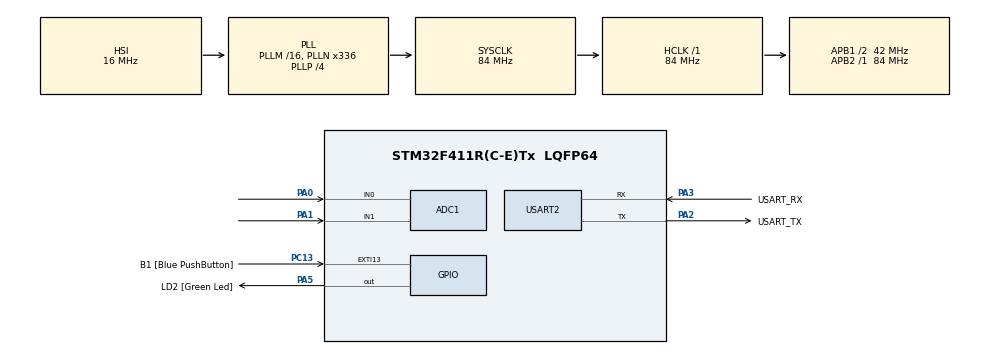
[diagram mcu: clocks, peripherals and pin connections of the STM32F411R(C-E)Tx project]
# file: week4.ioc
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ADC1.Channel-0\#ChannelRegularConversion=ADC_CHANNEL_0
ADC1.Channel-1\#ChannelRegularConversion=ADC_CHANNEL_1
ADC1.Channel-2\#ChannelRegularConversion=ADC_CHANNEL_TEMPSENSOR
ADC1.Channel-3\#ChannelRegularConversion=ADC_CHANNEL_VREFINT
ADC1.ContinuousConvMode=ENABLE
ADC1.DMAContinuousRequests=ENABLE
ADC1.InjNumberOfConversion=0
ADC1.NbrOfConversion=4
ADC1.NbrOfConversionFlag=1
ADC1.Rank-0\#ChannelRegularConversion=1
ADC1.Rank-1\#ChannelRegularConversion=2
ADC1.Rank-2\#ChannelRegularConversion=3
ADC1.Rank-3\#ChannelRegularConversion=4
ADC1.SamplingTime-0\#ChannelRegularConversion=ADC_SAMPLETIME_480CYCLES
ADC1.SamplingTime-1\#ChannelRegularConversion=ADC_SAMPLETIME_480CYCLES
ADC1.SamplingTime-2\#ChannelRegularConversion=ADC_SAMPLETIME_480CYCLES
ADC1.SamplingTime-3\#ChannelRegularConversion=ADC_SAMPLETIME_480CYCLES
ADC1.ScanConvMode=ENABLE
ADC1.master=1
Dma.ADC1.0.Direction=DMA_PERIPH_TO_MEMORY
Dma.ADC1.0.FIFOMode=DMA_FIFOMODE_DISABLE
Dma.ADC1.0.Instance=DMA2_Stream0
Dma.ADC1.0.MemDataAlignment=DMA_MDATAALIGN_WORD
Dma.ADC1.0.MemInc=DMA_MINC_ENABLE
Dma.ADC1.0.Mode=DMA_CIRCULAR
Dma.ADC1.0.PeriphDataAlignment=DMA_PDATAALIGN_WORD
Dma.ADC1.0.PeriphInc=DMA_PINC_DISABLE
Dma.ADC1.0.Priority=DMA_PRIORITY_LOW
Dma.Request0=ADC1
Mcu.Family=STM32F4
Mcu.Name=STM32F411R(C-E)Tx
Mcu.Package=LQFP64
NVIC.DMA2_Stream0_IRQn=true\:0\:0\:false\:false\:true\:false\:true
NVIC.EXTI15_10_IRQn=true\:0\:0\:false\:false\:true\:true\:true
NVIC.PriorityGroup=NVIC_PRIORITYGROUP_0
PA0-WKUP.Signal=ADCx_IN0
PA1.Signal=ADCx_IN1
PA13.GPIO_Label=TMS
PA13.Mode=Serial_Wire
PA13.Signal=SYS_JTMS-SWDIO
PA14.GPIO_Label=TCK
PA14.Mode=Serial_Wire
PA14.Signal=SYS_JTCK-SWCLK
PA2.GPIO_Label=USART_TX
PA2.Mode=Asynchronous
PA2.Signal=USART2_TX
PA3.GPIO_Label=USART_RX
PA3.Mode=Asynchronous
PA3.Signal=USART2_RX
PA5.GPIO_Label=LD2 [Green Led]
PA5.Signal=GPIO_Output
PB3.GPIO_Label=SWO
PB3.Signal=SYS_JTDO-SWO
PC13-ANTI_TAMP.GPIO_Label=B1 [Blue PushButton]
PC13-ANTI_TAMP.GPIO_ModeDefaultEXTI=GPIO_MODE_IT_RISING_FALLING
PC13-ANTI_TAMP.GPIO_PuPd=GPIO_PULLUP
PC13-ANTI_TAMP.Signal=GPXTI13
PC14-OSC32_IN.Mode=LSE-External-Oscillator
PC14-OSC32_IN.Signal=RCC_OSC32_IN
PC15-OSC32_OUT.Mode=LSE-External-Oscillator
PC15-OSC32_OUT.Signal=RCC_OSC32_OUT
PH0\ -\ OSC_IN.Mode=HSE-External-Clock-Source
PH0\ -\ OSC_IN.Signal=RCC_OSC_IN
PH1\ -\ OSC_OUT.Mode=HSE-External-Clock-Source
PH1\ -\ OSC_OUT.Signal=RCC_OSC_OUT
ProjectManager.HeapSize=0x200
ProjectManager.StackSize=0x400
ProjectManager.TargetToolchain=STM32CubeIDE
RCC.48MHZClocksFreq_Value=84000000
RCC.AHBFreq_Value=84000000
RCC.APB1CLKDivider=RCC_HCLK_DIV2
RCC.APB1Freq_Value=42000000
RCC.APB1TimFreq_Value=84000000
RCC.APB2Freq_Value=84000000
RCC.APB2TimFreq_Value=84000000
RCC.CortexFreq_Value=84000000
RCC.FLatency-AdvancedSettings=FLASH_LATENCY_2
RCC.HCLKFreq_Value=84000000
RCC.HSE_VALUE=8000000
RCC.HSI_VALUE=16000000
RCC.PLLN=336
RCC.PLLP=RCC_PLLP_DIV4
RCC.SYSCLKFreq_VALUE=84000000
RCC.SYSCLKSource=RCC_SYSCLKSOURCE_PLLCLK
RCC.VCOOutputFreq_Value=336000000
SH.ADCx_IN0.0=ADC1_IN0,IN0
SH.ADCx_IN1.0=ADC1_IN1,IN1
USART2.VirtualMode=VM_ASYNC
VP_ADC1_TempSens_Input.Mode=IN-TempSens
VP_ADC1_Vref_Input.Mode=IN-Vrefint
board=NUCLEO-F411RE

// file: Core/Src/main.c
/* USER CODE BEGIN Header */
/**
  ******************************************************************************
  * @file           : main.c
  * @brief          : Main program body
  ******************************************************************************
  * @attention
  *
  * <h2><center>&copy; Copyright (c) 2021 STMicroelectronics.
  * All rights reserved.</center></h2>
  *
  * This software component is licensed by ST under BSD 3-Clause license,
  * the "License"; You may not use this file except in compliance with the
  * License. You may obtain a copy of the License at:
  *                        opensource.org/licenses/BSD-3-Clause
  *
  ******************************************************************************
  */
/* USER CODE END Header */
#include "main.h"

ADC_HandleTypeDef hadc1;
DMA_HandleTypeDef hdma_adc1;

UART_HandleTypeDef huart2;

/* USER CODE BEGIN PV */
uint32_t ADCData[4] = {0};
//uint8_t state = 0;
uint32_t ButtonTimeStamp1 = 0;
uint32_t ButtonTimeStamp2 = 0;
uint32_t Timeresponse = 0;
uint8_t mode = 0;
uint32_t randomtime = 0;

/* USER CODE END PV */

void SystemClock_Config(void);
static void MX_GPIO_Init(void);
static void MX_DMA_Init(void);
static void MX_USART2_UART_Init(void);
static void MX_ADC1_Init(void);

int main(void)
{

  /* MCU Configuration--------------------------------------------------------*/

  /* Reset of all peripherals, Initializes the Flash interface and the Systick. */
  HAL_Init();

  /* Configure the system clock */
  SystemClock_Config();

  /* Initialize all configured peripherals */
  MX_GPIO_Init();
  MX_DMA_Init();
  MX_USART2_UART_Init();
  MX_ADC1_Init();
  /* USER CODE BEGIN 2 */
  HAL_ADC_Start_DMA(&hadc1, ADCData, 4);
  /* USER CODE END 2 */

  /* Infinite loop */
  /* USER CODE BEGIN WHILE */
  while (1)
  {
	  if(mode == 1)
	  {
		  if(HAL_GetTick() - ButtonTimeStamp1 >= randomtime)
		  {
			  HAL_GPIO_WritePin(GPIOA, GPIO_PIN_5, GPIO_PIN_SET);
	 		  mode = 2;
	  		  ButtonTimeStamp2 = HAL_GetTick();
	  	  }
	  }

    /* USER CODE END WHILE */

  }
}

void SystemClock_Config(void)
{
  RCC_OscInitTypeDef RCC_OscInitStruct = {0};
  RCC_ClkInitTypeDef RCC_ClkInitStruct = {0};

  /** Configure the main internal regulator output voltage
  */
  __HAL_RCC_PWR_CLK_ENABLE();
  __HAL_PWR_VOLTAGESCALING_CONFIG(PWR_REGULATOR_VOLTAGE_SCALE1);
  /** Initializes the RCC Oscillators according to the specified parameters
  * in the RCC_OscInitTypeDef structure.
  */
  RCC_OscInitStruct.OscillatorType = RCC_OSCILLATORTYPE_HSI;
  RCC_OscInitStruct.HSIState = RCC_HSI_ON;
  RCC_OscInitStruct.HSICalibrationValue = RCC_HSICALIBRATION_DEFAULT;
  RCC_OscInitStruct.PLL.PLLState = RCC_PLL_ON;
  RCC_OscInitStruct.PLL.PLLSource = RCC_PLLSOURCE_HSI;
  RCC_OscInitStruct.PLL.PLLM = 16;
  RCC_OscInitStruct.PLL.PLLN = 336;
  RCC_OscInitStruct.PLL.PLLP = RCC_PLLP_DIV4;
  RCC_OscInitStruct.PLL.PLLQ = 4;
  if (HAL_RCC_OscConfig(&RCC_OscInitStruct) != HAL_OK)
  {
    Error_Handler();
  }
  /** Initializes the CPU, AHB and APB buses clocks
  */
  RCC_ClkInitStruct.ClockType = RCC_CLOCKTYPE_HCLK|RCC_CLOCKTYPE_SYSCLK
                              |RCC_CLOCKTYPE_PCLK1|RCC_CLOCKTYPE_PCLK2;
  RCC_ClkInitStruct.SYSCLKSource = RCC_SYSCLKSOURCE_PLLCLK;
  RCC_ClkInitStruct.AHBCLKDivider = RCC_SYSCLK_DIV1;
  RCC_ClkInitStruct.APB1CLKDivider = RCC_HCLK_DIV2;
  RCC_ClkInitStruct.APB2CLKDivider = RCC_HCLK_DIV1;

  if (HAL_RCC_ClockConfig(&RCC_ClkInitStruct, FLASH_LATENCY_2) != HAL_OK)
  {
    Error_Handler();
  }
}

static void MX_ADC1_Init(void)
{

  ADC_ChannelConfTypeDef sConfig = {0};

  /** Configure the global features of the ADC (Clock, Resolution, Data Alignment and number of conversion)
  */
  hadc1.Instance = ADC1;
  hadc1.Init.ClockPrescaler = ADC_CLOCK_SYNC_PCLK_DIV4;
  hadc1.Init.Resolution = ADC_RESOLUTION_12B;
  hadc1.Init.ScanConvMode = ENABLE;
  hadc1.Init.ContinuousConvMode = ENABLE;
  hadc1.Init.DiscontinuousConvMode = DISABLE;
  hadc1.Init.ExternalTrigConvEdge = ADC_EXTERNALTRIGCONVEDGE_NONE;
  hadc1.Init.ExternalTrigConv = ADC_SOFTWARE_START;
  hadc1.Init.DataAlign = ADC_DATAALIGN_RIGHT;
  hadc1.Init.NbrOfConversion = 4;
  hadc1.Init.DMAContinuousRequests = ENABLE;
  hadc1.Init.EOCSelection = ADC_EOC_SINGLE_CONV;
  if (HAL_ADC_Init(&hadc1) != HAL_OK)
  {
    Error_Handler();
  }
  /** Configure for the selected ADC regular channel its corresponding rank in the sequencer and its sample time.
  */
  sConfig.Channel = ADC_CHANNEL_0;
  sConfig.Rank = 1;
  sConfig.SamplingTime = ADC_SAMPLETIME_480CYCLES;
  if (HAL_ADC_ConfigChannel(&hadc1, &sConfig) != HAL_OK)
  {
    Error_Handler();
  }
  /** Configure for the selected ADC regular channel its corresponding rank in the sequencer and its sample time.
  */
  sConfig.Channel = ADC_CHANNEL_1;
  sConfig.Rank = 2;
  if (HAL_ADC_ConfigChannel(&hadc1, &sConfig) != HAL_OK)
  {
    Error_Handler();
  }
  /** Configure for the selected ADC regular channel its corresponding rank in the sequencer and its sample time.
  */
  sConfig.Channel = ADC_CHANNEL_TEMPSENSOR;
  sConfig.Rank = 3;
  if (HAL_ADC_ConfigChannel(&hadc1, &sConfig) != HAL_OK)
  {
    Error_Handler();
  }
  /** Configure for the selected ADC regular channel its corresponding rank in the sequencer and its sample time.
  */
  sConfig.Channel = ADC_CHANNEL_VREFINT;
  sConfig.Rank = 4;
  if (HAL_ADC_ConfigChannel(&hadc1, &sConfig) != HAL_OK)
  {
    Error_Handler();
  }

}

static void MX_USART2_UART_Init(void)
{

  huart2.Instance = USART2;
  huart2.Init.BaudRate = 115200;
  huart2.Init.WordLength = UART_WORDLENGTH_8B;
  huart2.Init.StopBits = UART_STOPBITS_1;
  huart2.Init.Parity = UART_PARITY_NONE;
  huart2.Init.Mode = UART_MODE_TX_RX;
  huart2.Init.HwFlowCtl = UART_HWCONTROL_NONE;
  huart2.Init.OverSampling = UART_OVERSAMPLING_16;
  if (HAL_UART_Init(&huart2) != HAL_OK)
  {
    Error_Handler();
  }

}

static void MX_DMA_Init(void)
{

  /* DMA controller clock enable */
  __HAL_RCC_DMA2_CLK_ENABLE();

  /* DMA interrupt init */
  /* DMA2_Stream0_IRQn interrupt configuration */
  HAL_NVIC_SetPriority(DMA2_Stream0_IRQn, 0, 0);
  HAL_NVIC_EnableIRQ(DMA2_Stream0_IRQn);

}

static void MX_GPIO_Init(void)
{
  GPIO_InitTypeDef GPIO_InitStruct = {0};

  /* GPIO Ports Clock Enable */
  __HAL_RCC_GPIOC_CLK_ENABLE();
  __HAL_RCC_GPIOH_CLK_ENABLE();
  __HAL_RCC_GPIOA_CLK_ENABLE();
  __HAL_RCC_GPIOB_CLK_ENABLE();

  /*Configure GPIO pin Output Level */
  HAL_GPIO_WritePin(LD2_GPIO_Port, LD2_Pin, GPIO_PIN_SET);

  /*Configure GPIO pin : B1_Pin */
  GPIO_InitStruct.Pin = B1_Pin;
  GPIO_InitStruct.Mode = GPIO_MODE_IT_RISING_FALLING;
  GPIO_InitStruct.Pull = GPIO_PULLUP;
  HAL_GPIO_Init(B1_GPIO_Port, &GPIO_InitStruct);

  /*Configure GPIO pin : LD2_Pin */
  GPIO_InitStruct.Pin = LD2_Pin;
  GPIO_InitStruct.Mode = GPIO_MODE_OUTPUT_PP;
  GPIO_InitStruct.Pull = GPIO_NOPULL;
  GPIO_InitStruct.Speed = GPIO_SPEED_FREQ_LOW;
  HAL_GPIO_Init(LD2_GPIO_Port, &GPIO_InitStruct);

  /* EXTI interrupt init*/
  HAL_NVIC_SetPriority(EXTI15_10_IRQn, 0, 0);
  HAL_NVIC_EnableIRQ(EXTI15_10_IRQn);

}

/* USER CODE BEGIN 4 */
void HAL_GPIO_EXTI_Callback(uint16_t GPIO_Pin)
{
	/*if(GPIO_Pin == GPIO_PIN_13)
		{
			HAL_GPIO_TogglePin(LD2_GPIO_Port, LD2_Pin);
		}
	*/
	randomtime = 1000+( (22695477*ADCData[0])+ADCData[1] )%10000;
	if(GPIO_Pin == GPIO_PIN_13)
	{
		if(mode == 0) // LED_RESET
		{
			HAL_GPIO_WritePin(GPIOA, GPIO_PIN_5, GPIO_PIN_RESET);
			ButtonTimeStamp1 = HAL_GetTick();
			mode = 1;
		}
		if(mode == 2) // LED_SET
		{
			Timeresponse = HAL_GetTick() - ButtonTimeStamp2 ;
			mode = 0;
		}
	}
}
/* USER CODE END 4 */

void Error_Handler(void)
{
  __disable_irq();
  while (1)
  {
  }
}

/************************ (C) COPYRIGHT STMicroelectronics *****END OF FILE****/
